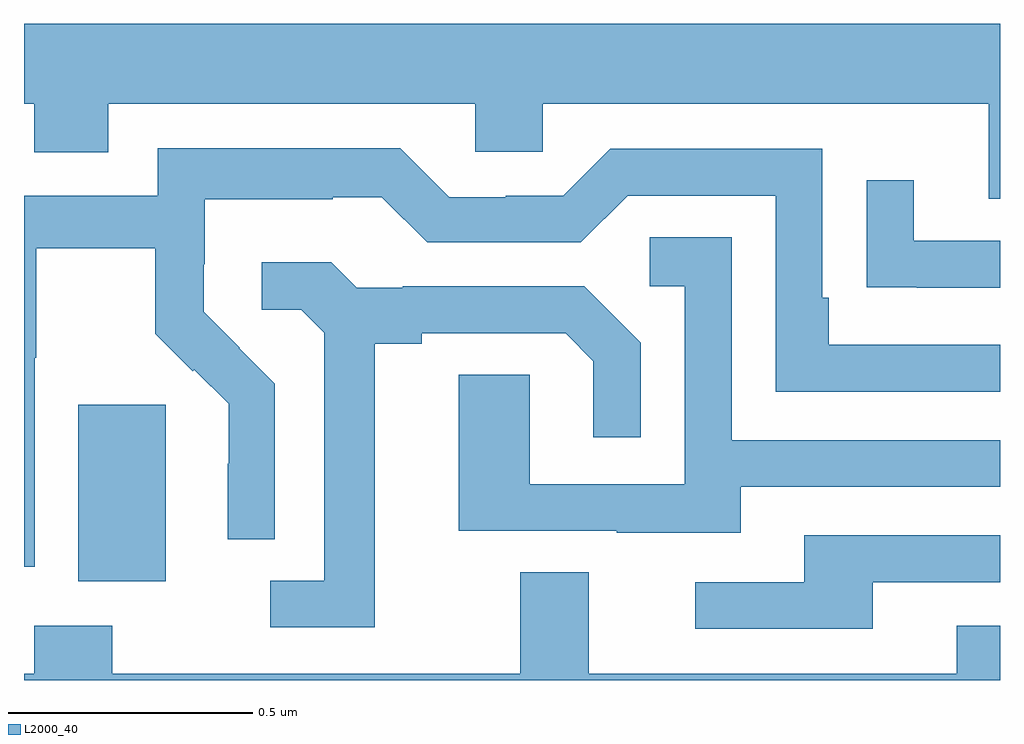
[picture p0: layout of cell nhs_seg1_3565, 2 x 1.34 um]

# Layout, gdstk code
import gdstk
lib = gdstk.Library(unit=1e-6, precision=1e-09)
def R(c, l, rs):  # rectangles x0, y0, x1, y1
    for r in rs: c.add(gdstk.rectangle(r[:2], r[2:], *l))
def P(c, l, *ps):  # polygons
    for p in ps: c.add(gdstk.Polygon(p, *l))
L2000_40 = (2000, 40)

nhs_seg1_3565 = lib.new_cell('nhs_seg1_3565')
R(nhs_seg1_3565, L2000_40, [(155.111,569.402,155.29,569.763)])
P(nhs_seg1_3565, L2000_40, [(157,570.544),(155,570.544),(155,570.38),(155.021,570.38),(155.021,570.281),(155.173,570.281),(155.173,570.38),(155.925,570.38),(155.925,570.282),(156.063,570.282),(156.063,570.38),(156.977,570.38),(156.977,570.186),(157,570.186)],
  [(155.022,569.86),(155.025,569.86),(155.025,570.084),(155.269,570.084),(155.269,569.909),(155.346,569.832),(155.349,569.835),(155.42,569.765),(155.42,569.642),(155.418,569.642),(155.418,569.488),(155.514,569.488),(155.514,569.806),(155.441,569.879),(155.442,569.88),(155.368,569.954),(155.368,570.051),(155.37,570.051),(155.37,570.185),(155.633,570.185),(155.633,570.189),(155.733,570.189),(155.826,570.096),(156.141,570.096),(156.237,570.192),(156.54,570.192),(156.54,569.79),(157,569.79),(157,569.886),(156.649,569.886),(156.649,569.983),(156.636,569.983),(156.636,570.288),(156.201,570.288),(156.105,570.192),(155.987,570.192),(155.987,570.189),(155.871,570.189),(155.771,570.289),(155.274,570.289),(155.274,570.192),(155,570.192),(155,569.431),(155.022,569.431)],
  [(157,570.099),(156.823,570.099),(156.823,570.223),(156.727,570.223),(156.727,570.004),(156.829,570.004),(156.829,570.003),(157,570.003)],
  [(156.469,569.595),(157,569.595),(157,569.691),(156.45,569.691),(156.45,570.107),(156.282,570.107),(156.282,570.006),(156.354,570.006),(156.354,569.601),(156.036,569.601),(156.036,569.825),(155.891,569.825),(155.891,569.505),(156.215,569.505),(156.215,569.501),(156.469,569.501)],
  [(155.719,569.888),(155.815,569.888),(155.815,569.91),(156.11,569.91),(156.167,569.853),(156.167,569.697),(156.264,569.697),(156.264,569.89),(156.148,570.006),(155.776,570.006),(155.776,570.003),(155.682,570.003),(155.63,570.055),(155.487,570.055),(155.487,569.958),(155.568,569.958),(155.615,569.911),(155.615,569.403),(155.505,569.403),(155.505,569.307),(155.719,569.307)],
  [(156.739,569.4),(157,569.4),(157,569.496),(156.599,569.496),(156.599,569.4),(156.375,569.4),(156.375,569.304),(156.739,569.304)],
  [(157,569.311),(156.911,569.311),(156.911,569.212),(156.157,569.212),(156.157,569.42),(156.017,569.42),(156.017,569.212),(155.181,569.212),(155.181,569.311),(155.021,569.311),(155.021,569.212),(155,569.212),(155,569.199),(157,569.199)])

lib.write_gds('nhs_seg1_3565.gds')
